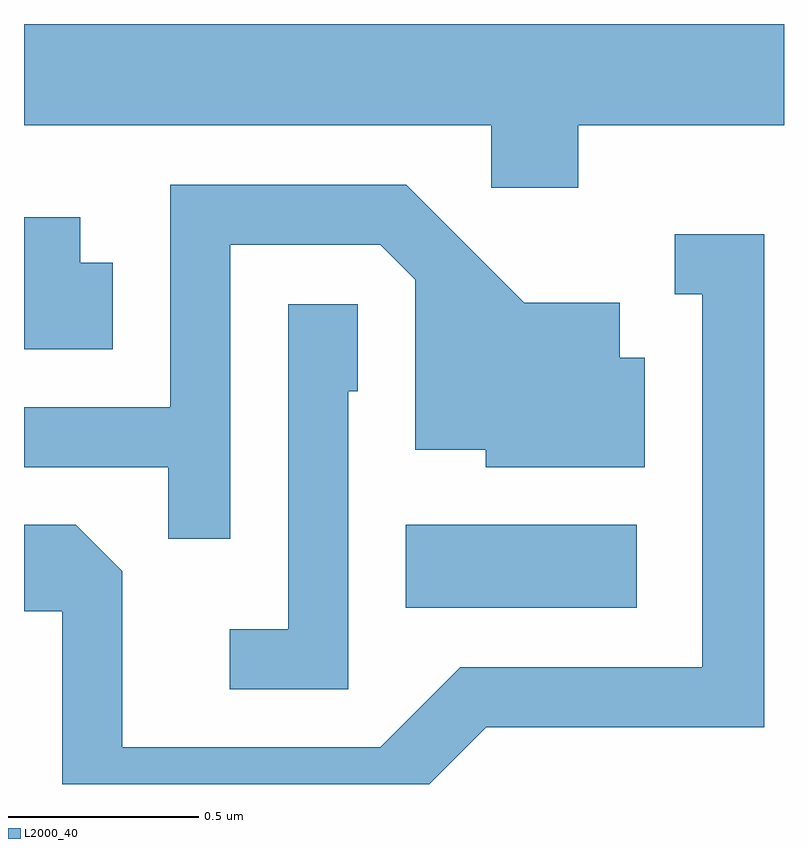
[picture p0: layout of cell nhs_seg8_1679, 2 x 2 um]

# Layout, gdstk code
import gdstk
lib = gdstk.Library(unit=1e-6, precision=1e-09)
def R(c, l, rs):  # rectangles x0, y0, x1, y1
    for r in rs: c.add(gdstk.rectangle(r[:2], r[2:], *l))
def P(c, l, *ps):  # polygons
    for p in ps: c.add(gdstk.Polygon(p, *l))
L2000_40 = (2000, 40)

nhs_seg8_1679 = lib.new_cell('nhs_seg8_1679')
R(nhs_seg8_1679, L2000_40, [(198.616,1841.806,199.224,1842.024)])
P(nhs_seg8_1679, L2000_40, [(199.069,1843.076),(199.611,1843.076),(199.611,1843.342),(197.611,1843.342),(197.611,1843.076),(198.841,1843.076),(198.841,1842.911),(199.069,1842.911)],
  [(198.154,1842.761),(198.549,1842.761),(198.641,1842.669),(198.641,1842.221),(198.826,1842.221),(198.826,1842.176),(199.244,1842.176),(199.244,1842.464),(199.179,1842.464),(199.179,1842.609),(198.927,1842.609),(198.617,1842.919),(197.996,1842.919),(197.996,1842.334),(197.611,1842.334),(197.611,1842.176),(197.991,1842.176),(197.991,1841.988),(198.154,1841.988)],
  [(197.844,1842.714),(197.759,1842.714),(197.759,1842.834),(197.611,1842.834),(197.611,1842.486),(197.844,1842.486)],
  [(198.827,1841.491),(199.559,1841.491),(199.559,1842.789),(199.323,1842.789),(199.323,1842.631),(199.396,1842.631),(199.396,1841.649),(198.759,1841.649),(198.549,1841.439),(197.869,1841.439),(197.869,1841.902),(197.747,1842.024),(197.611,1842.024),(197.611,1841.796),(197.711,1841.796),(197.711,1841.342),(198.678,1841.342)],
  [(198.464,1842.376),(198.489,1842.376),(198.489,1842.604),(198.306,1842.604),(198.306,1841.749),(198.153,1841.749),(198.153,1841.591),(198.464,1841.591)])

lib.write_gds('nhs_seg8_1679.gds')
